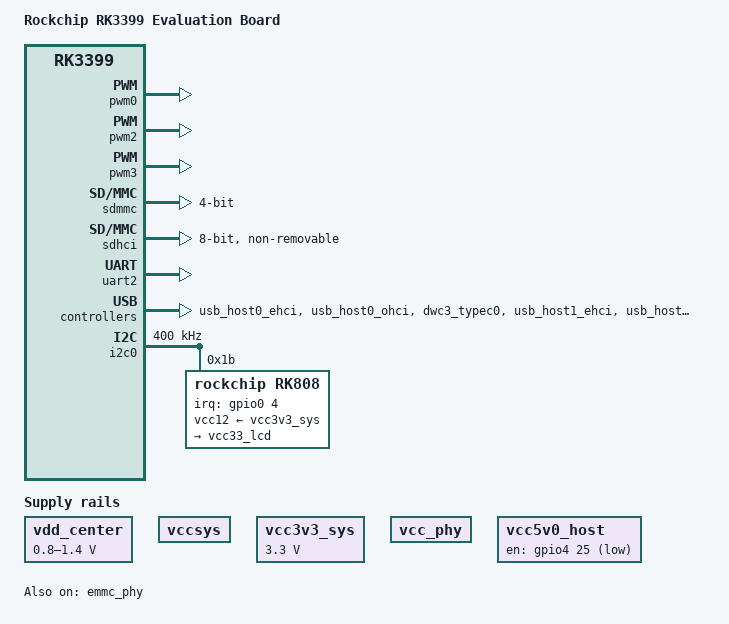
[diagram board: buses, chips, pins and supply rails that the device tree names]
/*
 * (C) Copyright 2016 Rockchip Electronics Co., Ltd
 *
 * SPDX-License-Identifier:     GPL-2.0+
 */

/dts-v1/;
#include <dt-bindings/pwm/pwm.h>
#include "rk3399.dtsi"
#include "rk3399-sdram-lpddr3-4GB-1600.dtsi"

/ {
	model = "Rockchip RK3399 Evaluation Board";
	compatible = "rockchip,rk3399-evb", "rockchip,rk3399",
		     "google,rk3399evb-rev2";

	chosen {
		stdout-path = &uart2;
	};

	vdd_center: vdd-center {
		compatible = "pwm-regulator";
		pwms = <&pwm3 0 25000 0>;
		regulator-name = "vdd_center";
		regulator-min-microvolt = <800000>;
		regulator-max-microvolt = <1400000>;
		regulator-init-microvolt = <950000>;
		regulator-always-on;
		regulator-boot-on;
		status = "okay";
	};

	vccsys: vccsys {
		compatible = "regulator-fixed";
		regulator-name = "vccsys";
		regulator-boot-on;
		regulator-always-on;
	};

	vcc3v3_sys: vcc3v3-sys {
		compatible = "regulator-fixed";
		regulator-name = "vcc3v3_sys";
		regulator-always-on;
		regulator-boot-on;
		regulator-min-microvolt = <3300000>;
		regulator-max-microvolt = <3300000>;
	};

	vcc_phy: vcc-phy-regulator {
		compatible = "regulator-fixed";
		regulator-name = "vcc_phy";
		regulator-always-on;
		regulator-boot-on;
	};

	vcc5v0_host: vcc5v0-host-en {
		compatible = "regulator-fixed";
		regulator-name = "vcc5v0_host";
		gpio = <&gpio4 25 GPIO_ACTIVE_HIGH>;
	};

};

&emmc_phy {
	status = "okay";
};

&pwm0 {
	status = "okay";
};

&pwm2 {
	status = "okay";
};

&pwm3 {
	status = "okay";
};

&sdmmc {
	bus-width = <4>;
	status = "okay";
};

&sdhci {
	bus-width = <8>;
	mmc-hs400-1_8v;
	mmc-hs400-enhanced-strobe;
	non-removable;
	status = "okay";
};

&uart2 {
	status = "okay";
};

&usb_host0_ehci {
	status = "okay";
};

&usb_host0_ohci {
	status = "okay";
};

&dwc3_typec0 {
	rockchip,vbus-gpio = <&gpio1 3 GPIO_ACTIVE_HIGH>;
	status = "okay";
};

&usb_host1_ehci {
	status = "okay";
};

&usb_host1_ohci {
	status = "okay";
};

&dwc3_typec1 {
	rockchip,vbus-gpio = <&gpio1 4 GPIO_ACTIVE_HIGH>;
	status = "okay";
};

&i2c0 {
	status = "okay";
	clock-frequency = <400000>;
	i2c-scl-falling-time-ns = <50>;
	i2c-scl-rising-time-ns = <100>;
	u-boot,dm-pre-reloc;

	rk808: pmic@1b {
		compatible = "rockchip,rk808";
		clock-output-names = "xin32k", "wifibt_32kin";
		interrupt-parent = <&gpio0>;
		interrupts = <4 IRQ_TYPE_LEVEL_LOW>;
		pinctrl-names = "default";
		pinctrl-0 = <&pmic_int_l>;
		reg = <0x1b>;
		rockchip,system-power-controller;
		#clock-cells = <1>;
		u-boot,dm-pre-reloc;
		status = "okay";

		vcc12-supply = <&vcc3v3_sys>;
		regulators {
			vcc33_lcd: SWITCH_REG2 {
				regulator-always-on;
				regulator-boot-on;
				regulator-name = "vcc33_lcd";
			};
		};
	};
};

&pinctrl {
	pmic {
		pmic_int_l: pmic-int-l {
			rockchip,pins =
				<1 21 RK_FUNC_GPIO &pcfg_pull_up>;
		};

		pmic_dvs2: pmic-dvs2 {
			rockchip,pins =
				<1 18 RK_FUNC_GPIO &pcfg_pull_down>;
		};
	};
};
